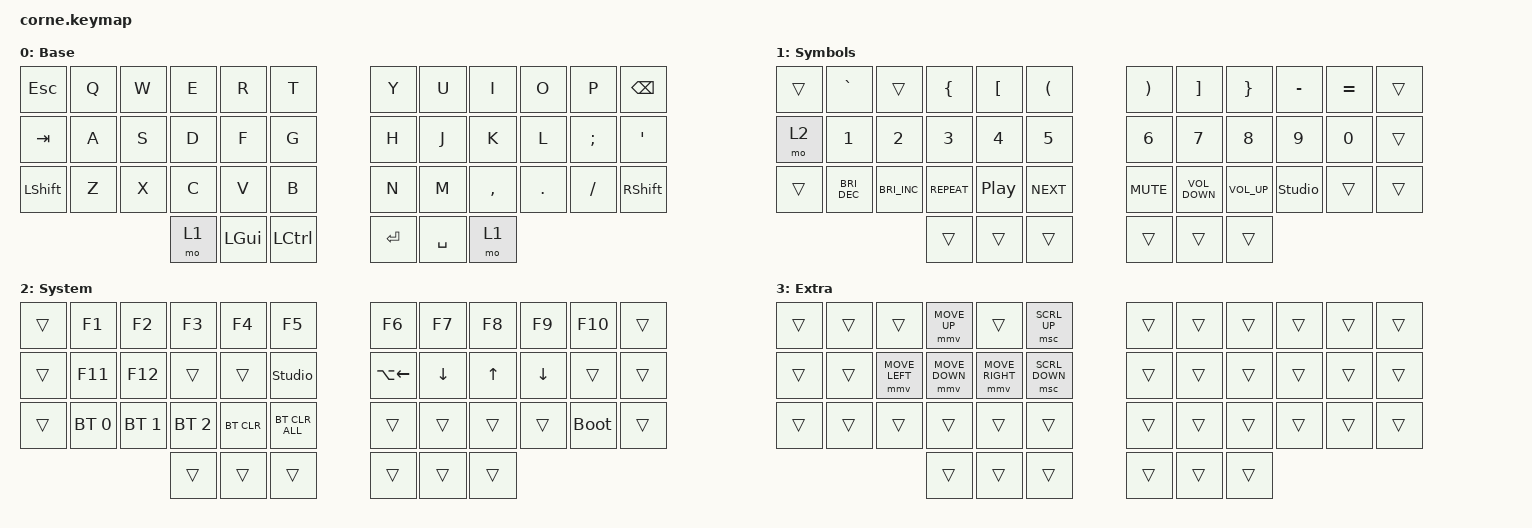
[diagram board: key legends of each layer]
#include <behaviors.dtsi>
#include <dt-bindings/zmk/bt.h>
#include <dt-bindings/zmk/keys.h>
#include <dt-bindings/zmk/pointing.h>

#define DEF 0
#define NAV 1
#define SYM 2
#define ADJ 3
#define EXTRA 4

/ {
    behaviors {
        hm: homerow_mods {
            compatible = "zmk,behavior-hold-tap";
            label = "HOMEROW_MODS";
            #binding-cells = <2>;
            tapping-term-ms = <200>;
            quick_tap_ms = <0>;
            flavor = "tap-preferred";
            bindings = <&kp>, <&kp>;

            quick-tap-ms = <180>;
            global-quick-tap;
        };

        para: para {
            compatible = "zmk,behavior-tap-dance";
            label = "PARA";
            #binding-cells = <0>;
            bindings = <&kp LEFT_PARENTHESIS>, <&kp RIGHT_PARENTHESIS>;
        };

        caps: caps {
            compatible = "zmk,behavior-caps-word";
            label = "CAPS";
            #binding-cells = <0>;
            continue-list = <MINUS BACKSPACE>;
        };

        paraless: paraless {
            compatible = "zmk,behavior-mod-morph";
            label = "PARALESS";
            bindings = <&kp LEFT_PARENTHESIS>, <&kp LESS_THAN>;

            #binding-cells = <0>;
            mods = <(MOD_LSFT)>;
        };

        paragreat: paragreat {
            compatible = "zmk,behavior-mod-morph";
            label = "PARAGREAT";
            bindings = <&kp RIGHT_PARENTHESIS>, <&kp GREATER_THAN>;

            #binding-cells = <0>;
            mods = <(MOD_LSFT)>;
        };
    };

    macros {
        browsertab: browsertab {
            compatible = "zmk,behavior-macro";
            #binding-cells = <0>;
            bindings =
                <&macro_press>,
                <&kp LCTRL>,
                <&macro_tap>,
                <&kp TAB>,
                <&macro_release>,
                <&kp LCTRL>;
        };
    };

    combos {
        compatible = "zmk,combos";

        escape {
            bindings = <&kp ESCAPE>;
            key-positions = <13 29>;
        };

        delete {
            bindings = <&kp DELETE>;
            key-positions = <15 21>;
        };

        perc {
            bindings = <&kp PERCENT>;
            key-positions = <5 17>;
        };

        equal {
            bindings = <&kp EQUAL>;
            key-positions = <28 16>;
        };

        dollar {
            bindings = <&kp DOLLAR>;
            key-positions = <4 16>;
        };

        pound {
            bindings = <&kp POUND>;
            key-positions = <3 15>;
        };

        at {
            bindings = <&kp AT>;
            key-positions = <2 14>;
        };

        backslash {
            bindings = <&kp BACKSLASH>;
            key-positions = <26 14>;
        };

        copy {
            bindings = <&kp K_COPY>;
            key-positions = <28 27>;
        };

        paste {
            bindings = <&kp K_PASTE>;
            key-positions = <26 27>;
        };

        star {
            bindings = <&kp STAR>;
            key-positions = <8 20>;
        };

        slash {
            bindings = <&kp SLASH>;
            key-positions = <32 20>;
        };

        plus {
            bindings = <&kp PLUS>;
            key-positions = <7 19>;
        };

        minus {
            bindings = <&kp KP_MINUS>;
            key-positions = <31 19>;
        };

        underscore {
            bindings = <&kp UNDER>;
            key-positions = <30 18>;
        };

        leftbrack {
            bindings = <&kp LEFT_BRACKET>;
            key-positions = <31 32>;
        };

        rightbrack {
            bindings = <&kp RIGHT_BRACKET>;
            key-positions = <33 32>;
        };

        para-less {
            bindings = <&paraless>;
            key-positions = <20 19>;
        };

        para-great {
            bindings = <&paragreat>;
            key-positions = <20 21>;
        };
    };

    //

    keymap {
        compatible = "zmk,keymap";

        DEF {
            display-name = "Base";

            // -----------------------------------------------------------------------------------------
            // |  Q  |  W  |  E  |  R  |  T  |   |  Y  |  U   |  I  |  O  |  P  |
            // |  A  |  S  |  D  |  F  |  G  |   |  H  |  J   |  K  |  L  |  ;  |
            // |  Z  |  X  |  C  |  V  |  B  |   |  N  |  M   |  ,  |  .  |  /  |
            // | GUI | CTRL | SHFT | LWR | SPC |   | ENT | RSE  | BKSP | ALT | ESC |

            bindings = <
&kp ESCAPE      &kp Q  &kp W  &kp E  &kp R         &kp T               &kp Y    &kp U      &kp I      &kp O    &kp P     &kp BACKSPACE
&kp TAB         &kp A  &kp S  &kp D  &kp F         &kp G               &kp H    &kp J      &kp K      &kp L    &kp SEMI  &kp SQT
&kp LEFT_SHIFT  &kp Z  &kp X  &kp C  &kp V         &kp B               &kp N    &kp M      &kp COMMA  &kp DOT  &kp FSLH  &kp RSHFT
                              &mo 1  &kp LEFT_GUI  &kp LEFT_CONTROL    &kp RET  &kp SPACE  &mo 1
            >;
        };

        SYM {
            display-name = "Symbols";

            // -----------------------------------------------------------------------------------------
            // |  TAB |  !  |  @  |  #  |  $  |  %  |   |  ^  |  &  |  *  |  (  |  )  | BKSP |
            // | CTRL |     |     |     |     |     |   |  -  |  =  |  [  |  ]  |  \  |  `   |
            // | SHFT |     |     |     |     |     |   |  _  |  +  |  {  |  }  | "|" |  ~   |
            //                    | GUI |     | SPC |   | ENT |     | ALT |

            bindings = <
&trans  &kp GRAVE             &trans                &kp LEFT_BRACE  &kp LEFT_BRACKET  &kp LEFT_PARENTHESIS    &kp RIGHT_PARENTHESIS  &kp RIGHT_BRACKET  &kp RIGHT_BRACE  &kp MINUS       &kp EQUAL  &trans
&mo 2   &kp NUMBER_1          &kp NUMBER_2          &kp NUMBER_3    &kp NUMBER_4      &kp N5                  &kp NUMBER_6           &kp N7             &kp N8           &kp N9          &kp N0     &trans
&trans  &kp C_BRIGHTNESS_DEC  &kp C_BRIGHTNESS_INC  &kp C_REPEAT    &kp C_PLAY_PAUSE  &kp C_NEXT              &kp C_MUTE             &kp C_VOLUME_DOWN  &kp C_VOLUME_UP  &studio_unlock  &trans     &trans
                                                    &trans          &trans            &trans                  &trans                 &trans             &trans
            >;
        };

        ADJ {
            display-name = "System";
            bindings = <
&trans  &kp F1        &kp F2        &kp F3        &kp F4      &kp F5            &kp F6        &kp F7    &kp F8        &kp F9    &kp F10      &trans
&trans  &kp F11       &kp F12       &trans        &trans      &studio_unlock    &kp LA(LEFT)  &kp DOWN  &kp UP_ARROW  &kp DOWN  &trans       &trans
&trans  &bt BT_SEL 0  &bt BT_SEL 1  &bt BT_SEL 2  &bt BT_CLR  &bt BT_CLR_ALL    &trans        &trans    &trans        &trans    &bootloader  &trans
                                    &trans        &trans      &trans            &trans        &trans    &trans
            >;
        };

        EXTRA {
            display-name = "Extra";
            bindings = <
&trans  &trans  &trans          &mmv MOVE_UP    &trans           &msc SCRL_UP      &trans  &trans  &trans  &trans  &trans  &trans
&trans  &trans  &mmv MOVE_LEFT  &mmv MOVE_DOWN  &mmv MOVE_RIGHT  &msc SCRL_DOWN    &trans  &trans  &trans  &trans  &trans  &trans
&trans  &trans  &trans          &trans          &trans           &trans            &trans  &trans  &trans  &trans  &trans  &trans
                                &trans          &trans           &trans            &trans  &trans  &trans
            >;
        };
    };

    conditional_layers {
        compatible = "zmk,conditional-layers";

        l3 {
            if-layers = <2 1>;
            then-layer = <2>;
        };
    };
};
